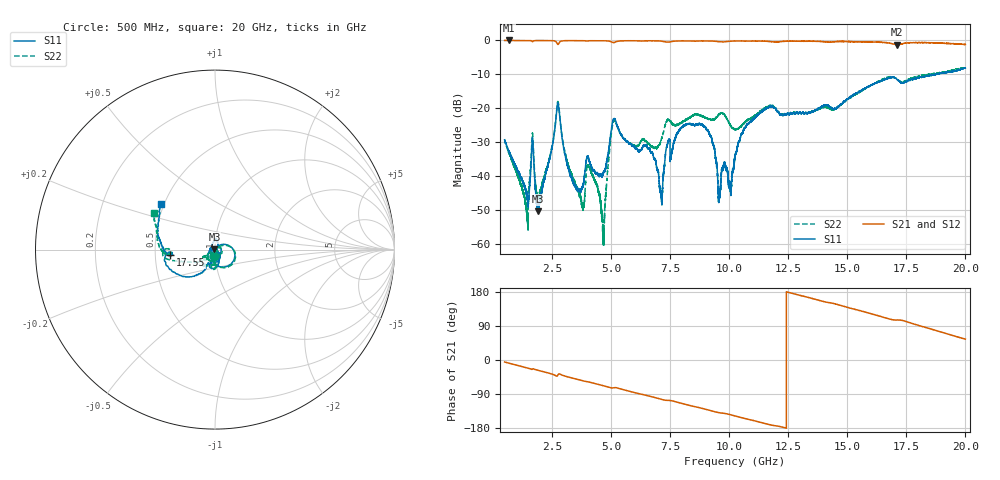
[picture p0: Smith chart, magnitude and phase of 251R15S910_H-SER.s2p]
!{251R15S910}
!Johanson Technology Inc.
!www.johansontechnology.com
!Test Board Conditions:
!Substrate Type  RO4350B
!Substrate Thickness  20 mil
!Substrate Dk  3.66
!TL Type: GCPW
!TL Trace Width  34 mil
!TL Gap  10 mil
!Electrode orientation  Horizontal
!DUT TOPOLOGY	SERIES
!Mounting Pad LxW  26x52 mil
! Created Thu Mar 12 17:16:57 2020
# mhz S ma R 50
! 2 Port Network Data from SP1.SP block
! freq  magS11  angS11  magS21  angS21  magS12  angS12  magS22  angS22
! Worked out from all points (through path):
!   19501 points, 500 MHz to 20 GHz, reference 50 ohm
!   highest |S21| = 0.00 dB at 683 MHz (marker M1); lowest = -1.3 dB at 17.09 GHz (marker M2)
!   group delay of S21, straight-line fit = 41.9 ps
!   lowest |S11| = -50.3 dB at 1.919 GHz (marker M3), VSWR 1.01, Z = 49.7 + j0.121 ohm
!   |S11| at or under -10 dB: start of sweep to 18.74 GHz; 18.73792 GHz to 18.7381 GHz (176.9 kHz wide, 0.000944 % of centre); 18.73943 GHz to 18.741 GHz (1.571 MHz wide, 0.00839 % of centre) (the widest 3 of 5)
!   |S22| runs from -60.5 to -8.0 dB; largest |S21 - S12| = 0.023
!   S11 on the Smith chart (normalised r, x): 500 MHz: 0.99, -0.07; 17.55 GHz: 0.60, -0.04; 20 GHz: 0.48, +0.29
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500  0.03455 -96.4  0.9987 -5.2  0.9986 -5.2  0.03373 -96.1
683  0.02337 -100.4  0.9994 -8.5  0.9977 -8.5  0.02209 -98.9
1403  0.00624 -107.7  0.9977 -20.0  0.9975 -20.0  0.003755 -96.5
1689  0.03534 -38.1  0.9607 -23.5  0.9605 -23.5  0.04143 -37.1
1919  0.00306 156.5  0.9964 -27.3  0.9964 -27.3  0.00485 -21.8
2759  0.1209 -38.4  0.8719 -39.4  0.8734 -39.4  0.1265 -39.2
3219  0.01248 -126.2  0.9939 -45.3  0.9943 -45.3  0.01402 -117.7
3750  0.006714 -78.3  0.9932 -53.8  0.9938 -53.8  0.004221 -128.8
4069  0.01749 -98.8  0.9878 -58.1  0.9874 -58.0  0.01375 -130.7
4678  0.01142 -69.4  0.9898 -67.8  0.9895 -67.8  0.000999 -118.9
5145  0.07053 -101.4  0.9357 -72.8  0.9356 -72.8  0.06646 -106.1
7000  0.01175 109.2  0.984 -101.4  0.9859 -101.4  0.02837 -113.6
8255  0.05893 87.0  0.984 -118.8  0.9842 -118.7  0.07021 -138.6
9172  0.04099 70.3  0.982 -132.8  0.9821 -132.8  0.06997 -144.2
9585  0.004873 -75.5  0.9554 -139.2  0.9568 -139.2  0.0829 -133.2
10250  0.01952 -29.3  0.9814 -147.6  0.9812 -147.6  0.04918 -125.4
11509  0.09676 -84.2  0.9751 -167.5  0.9733 -167.4  0.1002 -87.8
13500  0.08992 -116.6  0.9729 162.6  0.9756 162.7  0.09094 -101.6
16750  0.2779 -159.2  0.9202 109.0  0.9104 108.5  0.2888 -171.9
17095  0.2701 -174.8  0.8648 105.5  0.8645 105.4  0.2718 179.0
17554  0.2518 -172.7  0.9237 100.3  0.9167 100.2  0.2642 -174.1
20000  0.3935 140.2  0.8725 55.2  0.8687 55.4  0.3972 148.9
